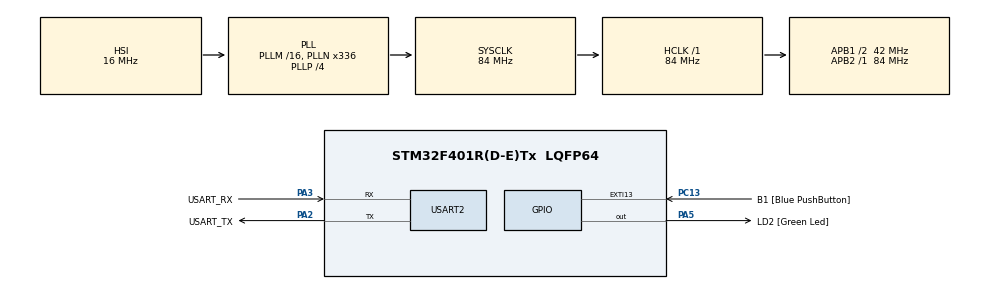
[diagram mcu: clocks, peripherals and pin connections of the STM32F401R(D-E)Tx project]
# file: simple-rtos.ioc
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Mcu.Family=STM32F4
Mcu.Name=STM32F401R(D-E)Tx
Mcu.Package=LQFP64
NVIC.PriorityGroup=NVIC_PRIORITYGROUP_0
PA13.GPIO_Label=TMS
PA13.Mode=Serial_Wire
PA13.Signal=SYS_JTMS-SWDIO
PA14.GPIO_Label=TCK
PA14.Mode=Serial_Wire
PA14.Signal=SYS_JTCK-SWCLK
PA2.GPIO_Label=USART_TX
PA2.GPIO_Mode=GPIO_MODE_AF_PP
PA2.GPIO_PuPd=GPIO_NOPULL
PA2.GPIO_Speed=GPIO_SPEED_FREQ_LOW
PA2.Mode=Asynchronous
PA2.Signal=USART2_TX
PA3.GPIO_Label=USART_RX
PA3.GPIO_Mode=GPIO_MODE_AF_PP
PA3.GPIO_PuPd=GPIO_NOPULL
PA3.GPIO_Speed=GPIO_SPEED_FREQ_LOW
PA3.Mode=Asynchronous
PA3.Signal=USART2_RX
PA5.GPIO_Label=LD2 [Green Led]
PA5.GPIO_Mode=GPIO_MODE_OUTPUT_PP
PA5.GPIO_PuPd=GPIO_NOPULL
PA5.GPIO_Speed=GPIO_SPEED_FREQ_LOW
PA5.Signal=GPIO_Output
PB3.GPIO_Label=SWO
PB3.Signal=SYS_JTDO-SWO
PC13-ANTI_TAMP.GPIO_Label=B1 [Blue PushButton]
PC13-ANTI_TAMP.GPIO_ModeDefaultEXTI=GPIO_MODE_IT_FALLING
PC13-ANTI_TAMP.GPIO_PuPd=GPIO_NOPULL
PC13-ANTI_TAMP.Signal=GPXTI13
PC14-OSC32_IN.Mode=LSE-External-Oscillator
PC14-OSC32_IN.Signal=RCC_OSC32_IN
PC15-OSC32_OUT.Mode=LSE-External-Oscillator
PC15-OSC32_OUT.Signal=RCC_OSC32_OUT
PH0\ -\ OSC_IN.Mode=HSE-External-Clock-Source
PH0\ -\ OSC_IN.Signal=RCC_OSC_IN
PH1\ -\ OSC_OUT.Mode=HSE-External-Clock-Source
PH1\ -\ OSC_OUT.Signal=RCC_OSC_OUT
ProjectManager.HeapSize=0x200
ProjectManager.StackSize=0x400
ProjectManager.TargetToolchain=STM32CubeIDE
RCC.48MHZClocksFreq_Value=48000000
RCC.AHBFreq_Value=84000000
RCC.APB1CLKDivider=RCC_HCLK_DIV2
RCC.APB1Freq_Value=42000000
RCC.APB1TimFreq_Value=84000000
RCC.APB2Freq_Value=84000000
RCC.APB2TimFreq_Value=84000000
RCC.CortexFreq_Value=84000000
RCC.HCLKFreq_Value=84000000
RCC.HSE_VALUE=8000000
RCC.HSI_VALUE=16000000
RCC.PLLN=336
RCC.PLLP=RCC_PLLP_DIV4
RCC.PLLQ=7
RCC.SYSCLKFreq_VALUE=84000000
RCC.SYSCLKSource=RCC_SYSCLKSOURCE_PLLCLK
RCC.VCOOutputFreq_Value=336000000
USART2.VirtualMode=VM_ASYNC
board=NUCLEO-F401RE

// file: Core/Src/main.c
/* USER CODE BEGIN Header */
/**
  ******************************************************************************
  * @file           : main.c
  * @brief          : Main program body
  ******************************************************************************
  * @attention
  *
  * Copyright (c) 2023 STMicroelectronics.
  * All rights reserved.
  *
  * This software is licensed under terms that can be found in the LICENSE file
  * in the root directory of this software component.
  * If no LICENSE file comes with this software, it is provided AS-IS.
  *
  ******************************************************************************
  */
/* USER CODE END Header */
#include "main.h"

/* USER CODE BEGIN Includes */
#include "kernel.h"
#include <stdio.h>
#include <stdbool.h>

/* USER CODE END Includes */

UART_HandleTypeDef huart2;
uint32_t myVar = 1;

/* USER CODE BEGIN PV */

extern uint32_t CURRENT_THREAD;

/* USER CODE END PV */

void SystemClock_Config(void);
static void MX_GPIO_Init(void);
static void MX_USART2_UART_Init(void);

/* USER CODE BEGIN 0 */

// Test Stuct
typedef struct myStruct{
	uint32_t add;
	uint32_t sub;
} myStruct;

int __io_putchar(int ch)
{
  // Wrapper for printf to operate on the embedded microcontrolher
	HAL_UART_Transmit(&huart2,(uint8_t*)&ch,1,HAL_MAX_DELAY);
	return ch;
}

void print_continuously(void* args)
{
  // Sample thread to print a string continuously
	while(1) {
		printf("Hello, PC! Current Thread: %d\r\n", CURRENT_THREAD);
	}
}

void print_continuously_test(void* args)
{
  // Sample thread to print a string continuously and Yield after each print
	while(1) {
		printf("Hello, PC! Current Thread: %d\r\n", CURRENT_THREAD);
		osYield();
	}
}

void print_thread1(void* args)
{
  // Sample thread to simply print its title and yield
	while(1)
	{
		for(int i = 0; i < 20000; i++){} // added to prevent race conditions in printing
		printf("Thread 1\r\n");
		osYield();
	}
}

void print_thread2(void* args)
{
  // Sample thread to simply print its title and yield
	while(1)
	{
		for(int i = 0; i < 30000; i++){} // prevents race conditions in printing
		printf("Thread 2\r\n");
		osYield();
	}
}

// Generic Thread Function
void thread_function1(void* args)
{
  // Sample thread function to simply print its arguments
	int inputs = *(int*)args;
	while(true)
	{
		printf("R0 memory value: %d\r\n", args);
		printf("R0 variable value: %d\r\n", inputs);
	}
}

void thread_function2(void* args)
{
  // Sample thread function to simply print its title
	int inputs = *(int*)args;
	while(true)
	{
		printf("New Thread\r\n");
	}
}

void thread_function3(void* args)
{
  // Sample thread function to simply print a global variable value
	int inputs = *(int*)args;
	while(true)
	{
		for(int i = 0; i < 30000; i++){} // prevents race conditions in printing
		printf("Thread 1: Global Variable Value: %d\r\n", myVar);
	}
}

void thread_function4(void* args)
{
	// Sample thread function to modify members of struct provided as an argument
	myStruct inputs = *(myStruct*)args;
	while(true)
	{
		myVar += inputs.add;
		myVar -= inputs.sub;
		printf("Thread 2: Global Variable Value: %ld\r\n", myVar);
		osYield();
	}
}

// Given a function pointer, set PC to that function and start running it
void jumpAssembly(void* fcn)
{
	__asm("MOV PC, R0");
}

/* USER CODE END 0 */

int main(void)
{

  /* MCU Configuration--------------------------------------------------------*/

  /* Reset of all peripherals, Initializes the Flash interface and the Systick. */
  HAL_Init();

  /* Configure the system clock */
  SystemClock_Config();

  /* Initialize all configured peripherals */
  MX_GPIO_Init();
  MX_USART2_UART_Init();

  /* Infinite loop */
  /* USER CODE BEGIN WHILE */

  // Initialize our kernel and its data.
  osKernelInitialize();

  // Begin creating some threads
  bool ret_val = osCreateThread((uint32_t*)print_thread1, 0);
  if (!ret_val)
  {
	  printf("Error Starting Thread!\r\n");
  }

  int x = 8;
  int *p = &x;
  bool ret_val = osCreateThread((uint32_t*)thread_function1, p);
  if (!ret_val)
  {
	  printf("Error Starting Thread!\r\n");
  }

  ret_val = osCreateThread((uint32_t*)thread_function2, 0);
  if (!ret_val)
  {
	  printf("Error Starting Thread!\r\n");
  }

  bool ret_val = osCreateThreadWithDeadline((uint32_t*)thread_function3, 0, 20);
  if (!ret_val)
  {
	  printf("Error Starting Thread!\r\n");
  }

  myStruct struct1;
  struct1.add = 2;
  struct1.sub = 1;

  myStruct *pStruct = &struct1;
  ret_val = osCreateThread((uint32_t*)thread_function4, pStruct);
  if (!ret_val)
  {
	  printf("Error Starting Thread!\r\n");
  }

  // Start our kernel and begin running our threads.
  osKernelStart();

  while (1)
  {
    /* USER CODE END WHILE */

  }
}

void SystemClock_Config(void)
{
  RCC_OscInitTypeDef RCC_OscInitStruct = {0};
  RCC_ClkInitTypeDef RCC_ClkInitStruct = {0};

  /** Configure the main internal regulator output voltage
  */
  __HAL_RCC_PWR_CLK_ENABLE();
  __HAL_PWR_VOLTAGESCALING_CONFIG(PWR_REGULATOR_VOLTAGE_SCALE2);
  /** Initializes the RCC Oscillators according to the specified parameters
  * in the RCC_OscInitTypeDef structure.
  */
  RCC_OscInitStruct.OscillatorType = RCC_OSCILLATORTYPE_HSI;
  RCC_OscInitStruct.HSIState = RCC_HSI_ON;
  RCC_OscInitStruct.HSICalibrationValue = RCC_HSICALIBRATION_DEFAULT;
  RCC_OscInitStruct.PLL.PLLState = RCC_PLL_ON;
  RCC_OscInitStruct.PLL.PLLSource = RCC_PLLSOURCE_HSI;
  RCC_OscInitStruct.PLL.PLLM = 16;
  RCC_OscInitStruct.PLL.PLLN = 336;
  RCC_OscInitStruct.PLL.PLLP = RCC_PLLP_DIV4;
  RCC_OscInitStruct.PLL.PLLQ = 7;
  if (HAL_RCC_OscConfig(&RCC_OscInitStruct) != HAL_OK)
  {
    Error_Handler();
  }
  /** Initializes the CPU, AHB and APB buses clocks
  */
  RCC_ClkInitStruct.ClockType = RCC_CLOCKTYPE_HCLK|RCC_CLOCKTYPE_SYSCLK
                              |RCC_CLOCKTYPE_PCLK1|RCC_CLOCKTYPE_PCLK2;
  RCC_ClkInitStruct.SYSCLKSource = RCC_SYSCLKSOURCE_PLLCLK;
  RCC_ClkInitStruct.AHBCLKDivider = RCC_SYSCLK_DIV1;
  RCC_ClkInitStruct.APB1CLKDivider = RCC_HCLK_DIV2;
  RCC_ClkInitStruct.APB2CLKDivider = RCC_HCLK_DIV1;

  if (HAL_RCC_ClockConfig(&RCC_ClkInitStruct, FLASH_LATENCY_2) != HAL_OK)
  {
    Error_Handler();
  }
}

static void MX_USART2_UART_Init(void)
{

  huart2.Instance = USART2;
  huart2.Init.BaudRate = 115200;
  huart2.Init.WordLength = UART_WORDLENGTH_8B;
  huart2.Init.StopBits = UART_STOPBITS_1;
  huart2.Init.Parity = UART_PARITY_NONE;
  huart2.Init.Mode = UART_MODE_TX_RX;
  huart2.Init.HwFlowCtl = UART_HWCONTROL_NONE;
  huart2.Init.OverSampling = UART_OVERSAMPLING_16;
  if (HAL_UART_Init(&huart2) != HAL_OK)
  {
    Error_Handler();
  }

}

static void MX_GPIO_Init(void)
{
  GPIO_InitTypeDef GPIO_InitStruct = {0};

  /* GPIO Ports Clock Enable */
  __HAL_RCC_GPIOC_CLK_ENABLE();
  __HAL_RCC_GPIOH_CLK_ENABLE();
  __HAL_RCC_GPIOA_CLK_ENABLE();
  __HAL_RCC_GPIOB_CLK_ENABLE();

  /*Configure GPIO pin Output Level */
  HAL_GPIO_WritePin(LD2_GPIO_Port, LD2_Pin, GPIO_PIN_RESET);

  /*Configure GPIO pin : B1_Pin */
  GPIO_InitStruct.Pin = B1_Pin;
  GPIO_InitStruct.Mode = GPIO_MODE_IT_FALLING;
  GPIO_InitStruct.Pull = GPIO_NOPULL;
  HAL_GPIO_Init(B1_GPIO_Port, &GPIO_InitStruct);

  /*Configure GPIO pin : LD2_Pin */
  GPIO_InitStruct.Pin = LD2_Pin;
  GPIO_InitStruct.Mode = GPIO_MODE_OUTPUT_PP;
  GPIO_InitStruct.Pull = GPIO_NOPULL;
  GPIO_InitStruct.Speed = GPIO_SPEED_FREQ_LOW;
  HAL_GPIO_Init(LD2_GPIO_Port, &GPIO_InitStruct);

}

void Error_Handler(void)
{
  __disable_irq();
  while (1)
  {
  }
}
